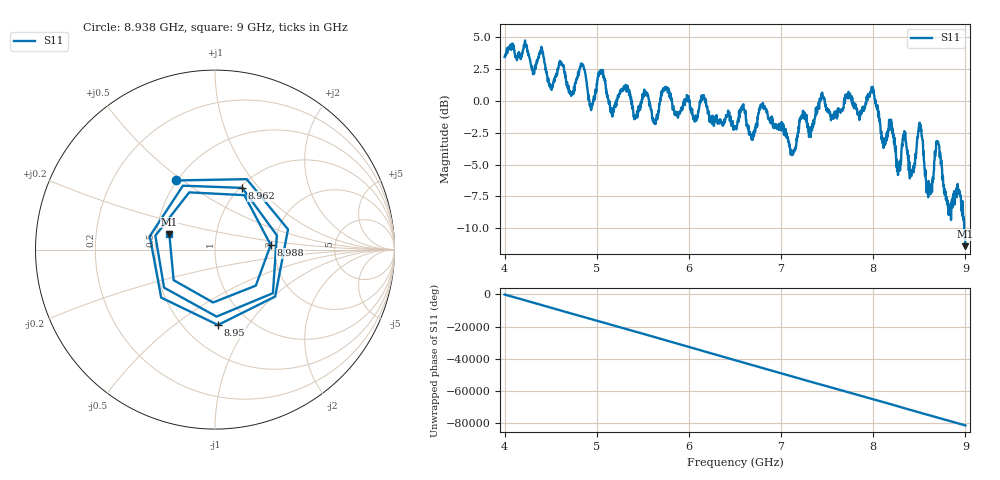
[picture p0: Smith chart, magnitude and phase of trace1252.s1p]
! Created with skrf 1.8.0 (http://scikit-rf.org).
# Hz S RI R 50.0
!freq ReS11 ImS11
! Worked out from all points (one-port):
!   1601 points, 4 GHz to 9 GHz, reference 50 ohm
!   lowest |S11| = -11.4 dB at 9 GHz (marker M1), VSWR 1.74, Z = 29.3 + j5.5 ohm
!   |S11| at or under -10 dB: 8.987394 GHz to end of sweep
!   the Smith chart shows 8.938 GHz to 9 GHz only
!   S11 on the Smith chart (normalised r, x): 8.938 GHz: 0.49, +0.47; 8.95 GHz: 0.72, -0.73; 8.962 GHz: 1.02, +0.82; 8.988 GHz: 1.90, +0.11; 9 GHz: 0.59, +0.11
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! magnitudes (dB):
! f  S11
! 4 GHz  3.4
! 4.506 GHz  1.0
! 4.625 GHz  2.8
! 4.725 GHz  0.5
! 4.847 GHz  2.9
! 4.934 GHz  -0.6
! 5.044 GHz  2.4
! 5.162 GHz  -1.0
! 5.25 GHz  0.5
! 5.875 GHz  -1.0
! 6.5 GHz  -2.2
! 6.803 GHz  -0.2
! 7.125 GHz  -4.1
! 7.441 GHz  0.5
! 7.75 GHz  0.2
! 7.991 GHz  1.0
! 8.106 GHz  -3.0
! 8.375 GHz  -4.3
! 8.422 GHz  -5.6
! 8.512 GHz  -2.0
! 8.6 GHz  -6.3
! 8.694 GHz  -3.3
! 8.822 GHz  -8.9
! 8.938 GHz  -7.1
! 8.95 GHz  -7.5
! 8.962 GHz  -8.5
! 8.988 GHz  -10.1
! 9 GHz  -11.4
